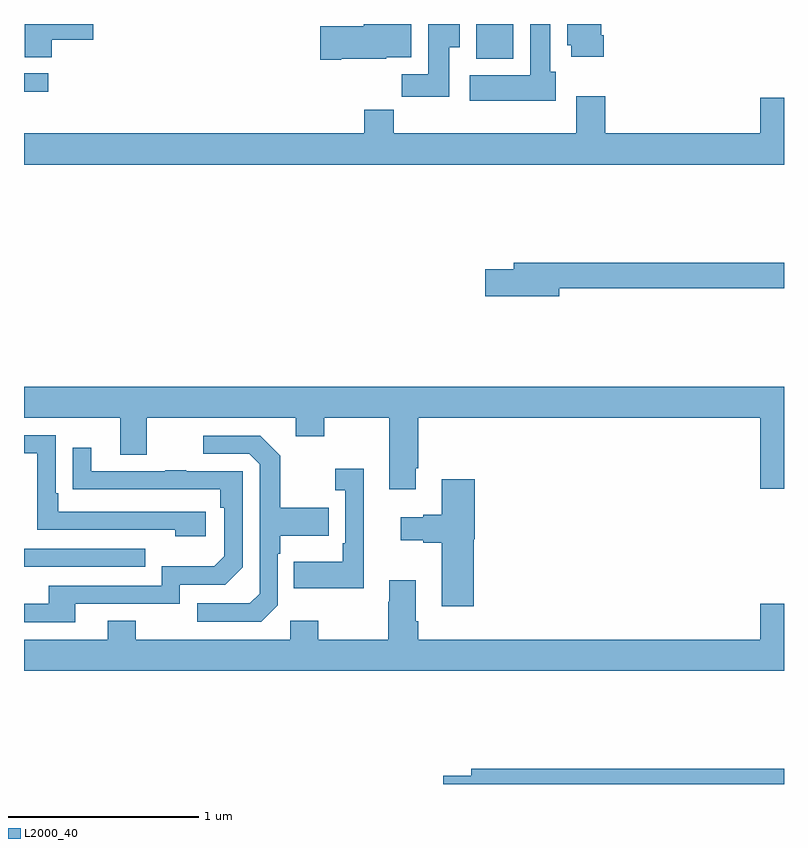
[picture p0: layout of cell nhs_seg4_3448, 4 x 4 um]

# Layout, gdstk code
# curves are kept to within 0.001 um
import gdstk
lib = gdstk.Library(unit=1e-6, precision=1e-09)
def R(c, l, rs):  # rectangles x0, y0, x1, y1
    for r in rs: c.add(gdstk.rectangle(r[:2], r[2:], *l))
def P(c, l, *ps):  # polygons
    for p in ps: c.add(gdstk.Polygon(p, *l))
L2000_40 = (2000, 40)

nhs_seg4_3448 = lib.new_cell('nhs_seg4_3448')
R(nhs_seg4_3448, L2000_40, [(293,788.043,293.639,788.139), (293,790.543,293.128,790.641), (295.379,790.718,295.575,790.9)])
P(nhs_seg4_3448, L2000_40, [(294.67,790.718),(294.906,790.718),(294.906,790.724),(295.039,790.724),(295.039,790.9),(294.788,790.9),(294.788,790.889),(294.558,790.889),(294.558,790.711),(294.67,790.711)],
  [(296.051,790.84),(296.038,790.84),(296.038,790.9),(295.859,790.9),(295.859,790.788),(295.88,790.788),(295.88,790.728),(296.051,790.728)],
  [(293.147,790.817),(293.365,790.817),(293.365,790.9),(293.003,790.9),(293.003,790.726),(293.147,790.726)],
  [(295.237,790.777),(295.294,790.777),(295.294,790.9),(295.127,790.9),(295.127,790.636),(294.988,790.636),(294.988,790.518),(295.237,790.518)],
  [(295.798,790.65),(295.771,790.65),(295.771,790.9),(295.664,790.9),(295.664,790.63),(295.347,790.63),(295.347,790.496),(295.798,790.496)],
  [(297,790.513),(296.876,790.513),(296.876,790.324),(296.06,790.324),(296.06,790.519),(295.907,790.519),(295.907,790.324),(294.947,790.324),(294.947,790.448),(294.791,790.448),(294.791,790.324),(293,790.324),(293,790.16),(297,790.16)],
  [(295.816,789.508),(297,789.508),(297,789.644),(295.577,789.644),(295.577,789.608),(295.428,789.608),(295.428,789.466),(295.816,789.466)],
  [(295.063,788.563),(295.076,788.563),(295.076,788.828),(296.876,788.828),(296.876,788.454),(297,788.454),(297,788.992),(293,788.992),(293,788.828),(293.507,788.828),(293.507,788.634),(293.647,788.634),(293.647,788.828),(294.431,788.828),(294.431,788.729),(294.579,788.729),(294.579,788.828),(294.923,788.828),(294.923,788.451),(295.063,788.451)],
  [(293.956,788.334),(293.179,788.334),(293.179,788.431),(293.166,788.431),(293.166,788.736),(293,788.736),(293,788.64),(293.07,788.64),(293.07,788.238),(293.795,788.238),(293.795,788.204),(293.956,788.204)],
  [(294.336,787.842),(294.336,788.111),(294.349,788.111),(294.349,788.207),(294.605,788.207),(294.605,788.355),(294.349,788.355),(294.349,788.627),(294.243,788.733),(293.943,788.733),(293.943,788.637),(294.186,788.637),(294.24,788.583),(294.24,787.902),(294.189,787.851),(293.913,787.851),(293.913,787.755),(294.249,787.755)],
  [(293.269,787.848),(293.82,787.848),(293.82,787.95),(294.06,787.95),(294.15,788.04),(294.15,788.547),(293.855,788.547),(293.855,788.552),(293.743,788.552),(293.743,788.547),(293.353,788.547),(293.353,788.671),(293.257,788.671),(293.257,788.452),(294.034,788.451),(294.034,788.354),(294.054,788.354),(294.054,788.1),(294.001,788.047),(293.724,788.047),(293.724,787.944),(293.129,787.944),(293.129,787.848),(293,787.848),(293,787.752),(293.269,787.752)],
  [(294.788,788.56),(294.639,788.56),(294.639,788.447),(294.69,788.447),(294.69,788.167),(294.678,788.167),(294.678,788.071),(294.421,788.071),(294.421,787.931),(294.788,787.931)],
  [(295.367,788.187),(295.372,788.187),(295.372,788.503),(295.199,788.503),(295.199,788.318),(295.1,788.318),(295.1,788.305),(294.984,788.305),(294.984,788.183),(295.1,788.183),(295.1,788.171),(295.199,788.171),(295.199,787.836),(295.367,787.836)],
  [(297,787.849),(296.876,787.849),(296.876,787.66),(295.076,787.66),(295.076,787.756),(295.063,787.756),(295.063,787.972),(294.923,787.972),(294.923,787.859),(294.916,787.859),(294.916,787.66),(294.549,787.66),(294.549,787.759),(294.402,787.759),(294.402,787.66),(293.589,787.66),(293.589,787.759),(293.441,787.759),(293.441,787.66),(293,787.66),(293,787.496),(297,787.496)],
  [(297,786.98),(295.355,786.98),(295.355,786.944),(295.206,786.944),(295.206,786.9),(297,786.9)])

lib.write_gds('nhs_seg4_3448.gds')
